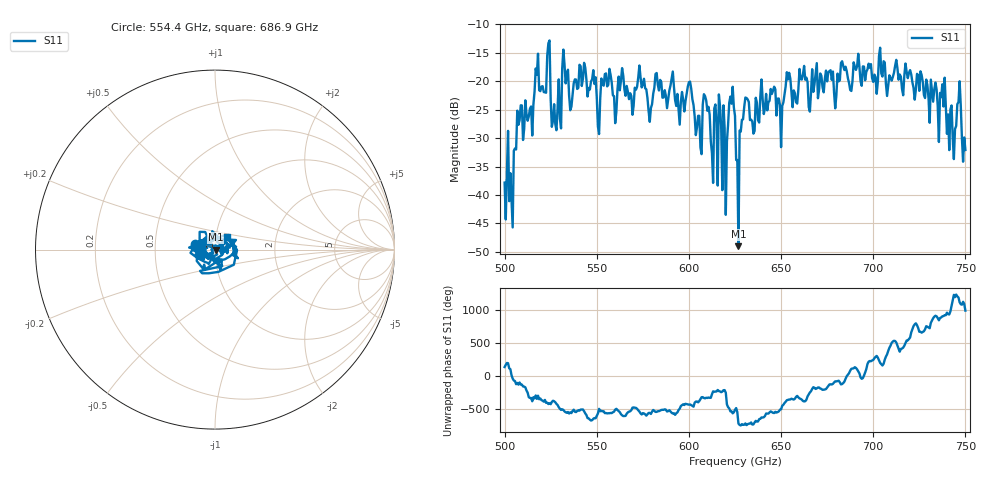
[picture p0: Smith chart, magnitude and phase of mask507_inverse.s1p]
!Created with skrf (http://scikit-rf.org).
# GHz S MA R 50.0
!freq magS11 angS11
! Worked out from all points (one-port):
!   401 points, 500 GHz to 750 GHz, reference 50 ohm
!   lowest |S11| = -49.0 dB at 626.9 GHz (marker M1), VSWR 1.01, Z = 50.4 + j0.0314 ohm
!   |S11| at or under -10 dB: start of sweep to end of sweep
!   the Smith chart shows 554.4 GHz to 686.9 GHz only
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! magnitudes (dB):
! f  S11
! 500 GHz  -37.8
! 503.8 GHz  -41.1
! 508.1 GHz  -26.8
! 513.8 GHz  -24.8
! 517.5 GHz  -18.9
! 523.8 GHz  -13.3
! 526.9 GHz  -24.0
! 531.2 GHz  -17.7
! 562.5 GHz  -21.6
! 593.8 GHz  -22.2
! 600.6 GHz  -20.0
! 605.6 GHz  -26.1
! 609.4 GHz  -23.4
! 611.9 GHz  -30.6
! 617.5 GHz  -28.0
! 619.4 GHz  -28.2
! 623.1 GHz  -23.9
! 625 GHz  -26.1
! 626.9 GHz  -49.0
! 631.2 GHz  -22.9
! 634.4 GHz  -27.1
! 656.2 GHz  -24.6
! 687.5 GHz  -21.5
! 718.8 GHz  -19.4
! 737.5 GHz  -20.5
! 742.5 GHz  -24.2
! 746.2 GHz  -23.7
! 750 GHz  -32.1
